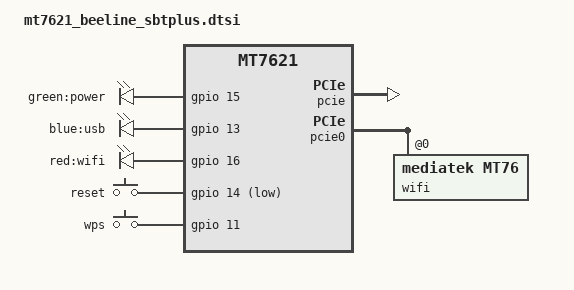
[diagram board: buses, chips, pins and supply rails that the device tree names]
// SPDX-License-Identifier: GPL-2.0

#include "mt7621.dtsi"

#include <dt-bindings/gpio/gpio.h>
#include <dt-bindings/input/input.h>

/ {
	aliases {
		led-boot = &led_power;
		led-failsafe = &led_power;
		led-running = &led_power;
		led-upgrade = &led_power;
		label-mac-device = &gmac0;
	};

	chosen {
		bootargs = "console=ttyS0,57600";
	};

	leds {
		compatible = "gpio-leds";

		led_power: power {
			label = "green:power";
			gpios = <&gpio 15 GPIO_ACTIVE_HIGH>;
		};

		usb {
			label = "blue:usb";
			gpios = <&gpio 13 GPIO_ACTIVE_HIGH>;
			trigger-sources = <&xhci_ehci_port1>, <&ehci_port2>;
			linux,default-trigger = "usbport";
		};

		wifi {
			label = "red:wifi";
			gpios = <&gpio 16 GPIO_ACTIVE_HIGH>;
		};
	};

	keys {
		compatible = "gpio-keys-polled";
		poll-interval = <20>;

		reset {
			label = "reset";
			gpios = <&gpio 14 GPIO_ACTIVE_LOW>;
			linux,code = <KEY_RESTART>;
		};
		wps {
			label = "wps";
			gpios = <&gpio 11 GPIO_ACTIVE_HIGH>;
			linux,code = <KEY_WPS_BUTTON>;
		};
	};
};

&pcie {
	status = "okay";
};

&pcie0 {
	wifi@0,0 {
		compatible = "mediatek,mt76";
		reg = <0x0 0 0 0 0>;
		mediatek,mtd-eeprom = <&factory 0x8000>;
		ieee80211-freq-limit = <5000000 6000000>;
	};
};

&pcie1 {
	wifi@0,0 {
		reg = <0x0 0 0 0 0>;
		mediatek,mtd-eeprom = <&factory 0x0>;
		ieee80211-freq-limit = <2400000 2500000>;
	};
};

&state_default {
	gpio {
		groups = "uart2", "uart3", "wdt";
		function = "gpio";
	};
};
